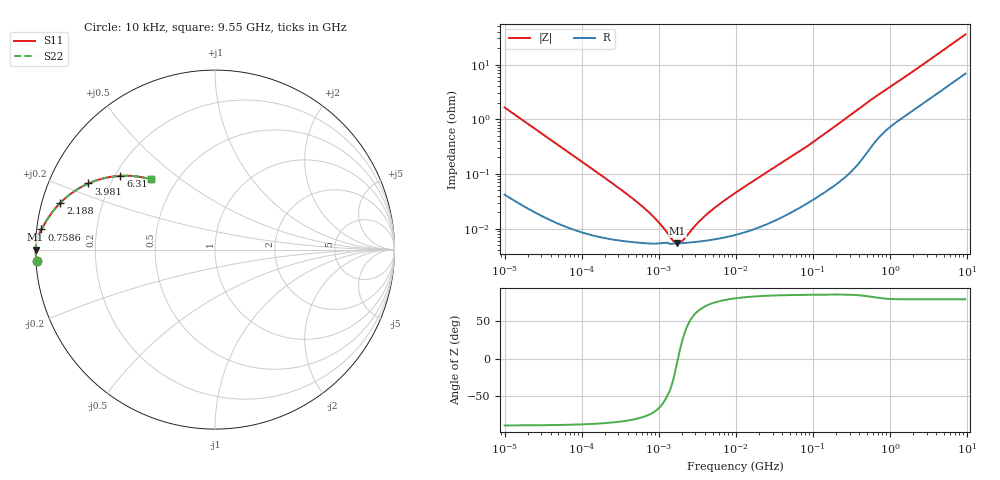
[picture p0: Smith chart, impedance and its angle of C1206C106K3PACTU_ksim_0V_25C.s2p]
! C1206C106K3PAC
! Temp = 25?C, Bias = 0VDC, Shunt
! KEMET S2P Model
# HZ S DB R 50
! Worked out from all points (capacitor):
!   300 points, 10 kHz to 9.55 GHz, reference 50 ohm
!   read as one part in shunt: C = 9.67 uF near 10.47 kHz
!   lowest |Z| = 5.38 mohm at 1.738 MHz (marker M1)
!   series resonance near 1.776 MHz, so ESL is about 830 pH
!   S11 on the Smith chart (normalised r, x): 10 kHz: 0.00, -0.03; 758.6 MHz: 0.01, +0.06; 2.188 GHz: 0.05, +0.15; 3.981 GHz: 0.12, +0.24; 6.31 GHz: 0.22, +0.33; 9.55 GHz: 0.36, +0.39
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10000  -0.03 -176.3  -23.69 -84.8  -23.69 -84.8  -0.03 -176.3
26302.68  -0.01 -178.6  -31.95 -86.8  -31.95 -86.8  -0.01 -178.6
100000  -0.00 -179.6  -43.41 -86.7  -43.41 -86.7  -0.00 -179.6
478629.9  -0.00 -179.9  -57.34 -80.4  -57.34 -80.4  -0.00 -179.9
724436.2  -0.00 -180.0  -61.65 -74.9  -61.65 -74.9  -0.00 -180.0
1000000  -0.00 -180.0  -65.64 -65.7  -65.64 -65.7  -0.00 -180.0
1513561  -0.00 -180.0  -72.16 -30.8  -72.16 -30.8  -0.00 -180.0
1737800  -0.00 -180.0  -73.35 -4.6  -73.35 -4.6  -0.00 -180.0
1995263  -0.00 180.0  -72.62 21.8  -72.62 21.8  -0.00 180.0
3162278  -0.00 180.0  -66.06 62.4  -66.06 62.4  -0.00 180.0
4365157  -0.00 180.0  -62.32 71.4  -62.32 71.4  -0.00 180.0
1e7  -0.00 179.9  -54.78 80.2  -54.78 80.2  -0.00 179.9
1e8  -0.01 179.1  -36.39 84.1  -36.39 84.1  -0.01 179.1
3.019948e8  -0.05 177.3  -26.62 82.3  -26.62 82.3  -0.05 177.3
7.585778e8  -0.23 173.4  -18.66 73.7  -18.66 73.7  -0.23 173.4
1e9  -0.34 171.6  -16.54 70.9  -16.54 70.9  -0.34 171.6
1.513562e9  -0.57 167.8  -13.36 66.7  -13.36 66.7  -0.57 167.8
2.187762e9  -0.91 163.2  -10.59 62.0  -10.59 62.0  -0.91 163.2
3.019948e9  -1.39 157.8  -8.31 56.7  -8.31 56.7  -1.39 157.8
3.981075e9  -1.99 152.4  -6.52 51.3  -6.52 51.3  -1.99 152.4
6.309576e9  -3.51 142.0  -4.06 41.0  -4.06 41.0  -3.51 142.0
9.549916e9  -5.52 132.4  -2.47 31.3  -2.47 31.3  -5.52 132.4
